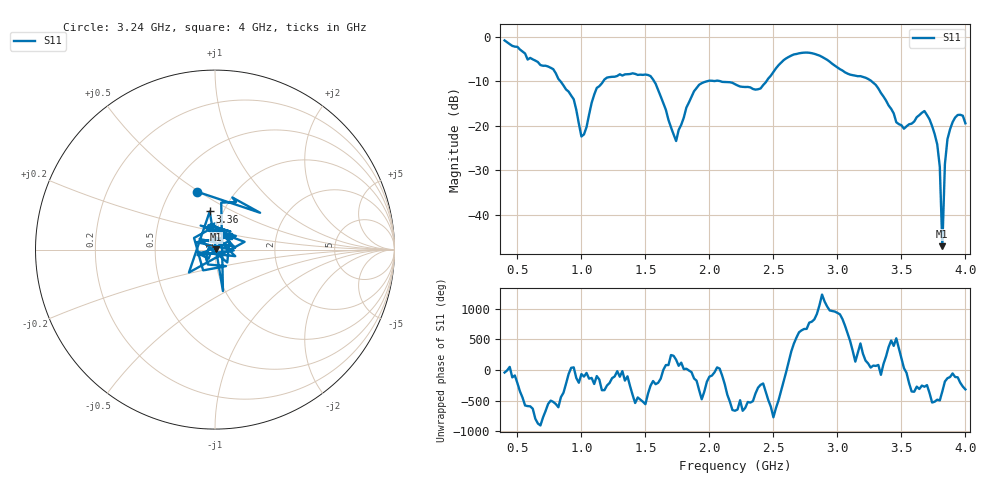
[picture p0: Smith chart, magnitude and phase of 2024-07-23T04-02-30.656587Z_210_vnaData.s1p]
!Created with skrf (http://scikit-rf.org).
# Hz S RI R 50.0
!freq ReS11 ImS11
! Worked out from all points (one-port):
!   181 points, 400 MHz to 4 GHz, reference 50 ohm
!   lowest |S11| = -47.0 dB at 3.82 GHz (marker M1), VSWR 1.01, Z = 50.4 + j0.0936 ohm
!   |S11| at or under -10 dB: 1.569 GHz to 1.975 GHz (406 MHz wide, 22.9 % of centre); 2.091 GHz to 2.444 GHz (353.1 MHz wide, 15.6 % of centre); 3.269 GHz to end of sweep (the widest 3 of 4)
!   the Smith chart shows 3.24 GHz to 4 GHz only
!   S11 on the Smith chart (normalised r, x): 3.24 GHz: 0.67, +0.49; 3.36 GHz: 0.86, +0.38; 4 GHz: 1.16, +0.17
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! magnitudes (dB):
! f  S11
! 400 MHz  -0.8
! 780 MHz  -7.2
! 860 MHz  -10.9
! 940 MHz  -14.0
! 1 GHz  -22.4
! 1.12 GHz  -11.4
! 1.3 GHz  -8.4
! 1.54 GHz  -8.8
! 1.74 GHz  -23.4
! 1.76 GHz  -20.9
! 1.92 GHz  -10.7
! 2.2 GHz  -10.6
! 2.4 GHz  -11.6
! 2.66 GHz  -3.9
! 2.86 GHz  -4.2
! 3.1 GHz  -8.5
! 3.24 GHz  -9.4
! 3.36 GHz  -13.4
! 3.46 GHz  -19.1
! 3.56 GHz  -19.6
! 3.68 GHz  -16.6
! 3.76 GHz  -21.8
! 3.8 GHz  -29.2
! 3.82 GHz  -47.0
! 3.84 GHz  -28.5
! 3.86 GHz  -22.9
! 3.94 GHz  -17.5
! 4 GHz  -19.4
